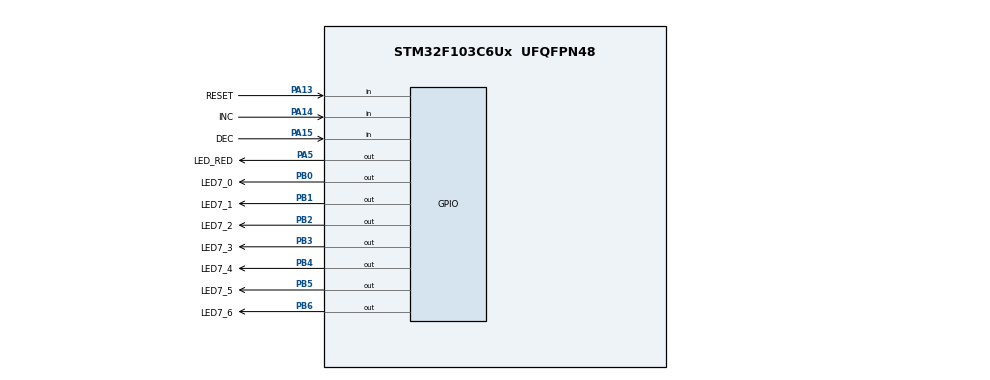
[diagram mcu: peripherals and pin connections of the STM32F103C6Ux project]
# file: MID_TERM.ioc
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Mcu.Family=STM32F1
Mcu.Name=STM32F103C6Ux
Mcu.Package=UFQFPN48
NVIC.PriorityGroup=NVIC_PRIORITYGROUP_4
NVIC.TIM2_IRQn=true\:0\:0\:false\:false\:true\:true\:true
PA13.GPIO_Label=RESET
PA13.GPIO_PuPd=GPIO_PULLUP
PA13.Signal=GPIO_Input
PA14.GPIO_Label=INC
PA14.GPIO_PuPd=GPIO_PULLUP
PA14.Signal=GPIO_Input
PA15.GPIO_Label=DEC
PA15.GPIO_PuPd=GPIO_PULLUP
PA15.Signal=GPIO_Input
PA5.GPIO_Label=LED_RED
PA5.Signal=GPIO_Output
PB0.GPIO_Label=LED7_0
PB0.Signal=GPIO_Output
PB1.GPIO_Label=LED7_1
PB1.Signal=GPIO_Output
PB2.GPIO_Label=LED7_2
PB2.Signal=GPIO_Output
PB3.GPIO_Label=LED7_3
PB3.Signal=GPIO_Output
PB4.GPIO_Label=LED7_4
PB4.Signal=GPIO_Output
PB5.GPIO_Label=LED7_5
PB5.Signal=GPIO_Output
PB6.GPIO_Label=LED7_6
PB6.Signal=GPIO_Output
ProjectManager.HeapSize=0x200
ProjectManager.StackSize=0x400
ProjectManager.TargetToolchain=STM32CubeIDE
RCC.APB1Freq_Value=8000000
RCC.APB2Freq_Value=8000000
TIM2.Period=10
TIM2.Prescaler=7999
VP_SYS_VS_ND.Mode=No_Debug
VP_TIM2_VS_ClockSourceINT.Mode=Internal
board=custom

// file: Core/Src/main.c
/* USER CODE BEGIN Header */
/**
  ******************************************************************************
  * @file           : main.c
  * @brief          : Main program body
  ******************************************************************************
  * @attention
  *
  * <h2><center>&copy; Copyright (c) 2022 STMicroelectronics.
  * All rights reserved.</center></h2>
  *
  * This software component is licensed by ST under BSD 3-Clause license,
  * the "License"; You may not use this file except in compliance with the
  * License. You may obtain a copy of the License at:
  *                        opensource.org/licenses/BSD-3-Clause
  *
  ******************************************************************************
  */
/* USER CODE END Header */
#include "main.h"

/* USER CODE BEGIN Includes */
#include "software_timer.h"
#include "display7Segment.h"
#include "global.h"
#include "button.h"
#include "normalPress.h"
/* USER CODE END Includes */

TIM_HandleTypeDef htim2;

void SystemClock_Config(void);
static void MX_GPIO_Init(void);
static void MX_TIM2_Init(void);

int main(void)
{

  /* MCU Configuration--------------------------------------------------------*/

  /* Reset of all peripherals, Initializes the Flash interface and the Systick. */
  HAL_Init();

  /* Configure the system clock */
  SystemClock_Config();

  /* Initialize all configured peripherals */
  MX_GPIO_Init();
  MX_TIM2_Init();
  /* USER CODE BEGIN 2 */
  HAL_TIM_Base_Start_IT (& htim2 ) ;
  /* USER CODE END 2 */

  /* Infinite loop */
  /* USER CODE BEGIN WHILE */
  status_press=INIT;
  setTimer2(1000);
  while (1)
  {
    /* USER CODE END WHILE */

    /* USER CODE BEGIN 3 */
	  fsm_simple_buttons_run();
	  if(timer2_flag==1){
		  setTimer2(1000);
		  HAL_GPIO_TogglePin(LED_RED_GPIO_Port, LED_RED_Pin);
	  }
  }
  /* USER CODE END 3 */
}

void SystemClock_Config(void)
{
  RCC_OscInitTypeDef RCC_OscInitStruct = {0};
  RCC_ClkInitTypeDef RCC_ClkInitStruct = {0};

  /** Initializes the RCC Oscillators according to the specified parameters
  * in the RCC_OscInitTypeDef structure.
  */
  RCC_OscInitStruct.OscillatorType = RCC_OSCILLATORTYPE_HSI;
  RCC_OscInitStruct.HSIState = RCC_HSI_ON;
  RCC_OscInitStruct.HSICalibrationValue = RCC_HSICALIBRATION_DEFAULT;
  RCC_OscInitStruct.PLL.PLLState = RCC_PLL_NONE;
  if (HAL_RCC_OscConfig(&RCC_OscInitStruct) != HAL_OK)
  {
    Error_Handler();
  }
  /** Initializes the CPU, AHB and APB buses clocks
  */
  RCC_ClkInitStruct.ClockType = RCC_CLOCKTYPE_HCLK|RCC_CLOCKTYPE_SYSCLK
                              |RCC_CLOCKTYPE_PCLK1|RCC_CLOCKTYPE_PCLK2;
  RCC_ClkInitStruct.SYSCLKSource = RCC_SYSCLKSOURCE_HSI;
  RCC_ClkInitStruct.AHBCLKDivider = RCC_SYSCLK_DIV1;
  RCC_ClkInitStruct.APB1CLKDivider = RCC_HCLK_DIV1;
  RCC_ClkInitStruct.APB2CLKDivider = RCC_HCLK_DIV1;

  if (HAL_RCC_ClockConfig(&RCC_ClkInitStruct, FLASH_LATENCY_0) != HAL_OK)
  {
    Error_Handler();
  }
}

static void MX_TIM2_Init(void)
{

  TIM_ClockConfigTypeDef sClockSourceConfig = {0};
  TIM_MasterConfigTypeDef sMasterConfig = {0};

  htim2.Instance = TIM2;
  htim2.Init.Prescaler = 7999;
  htim2.Init.CounterMode = TIM_COUNTERMODE_UP;
  htim2.Init.Period = 10;
  htim2.Init.ClockDivision = TIM_CLOCKDIVISION_DIV1;
  htim2.Init.AutoReloadPreload = TIM_AUTORELOAD_PRELOAD_DISABLE;
  if (HAL_TIM_Base_Init(&htim2) != HAL_OK)
  {
    Error_Handler();
  }
  sClockSourceConfig.ClockSource = TIM_CLOCKSOURCE_INTERNAL;
  if (HAL_TIM_ConfigClockSource(&htim2, &sClockSourceConfig) != HAL_OK)
  {
    Error_Handler();
  }
  sMasterConfig.MasterOutputTrigger = TIM_TRGO_RESET;
  sMasterConfig.MasterSlaveMode = TIM_MASTERSLAVEMODE_DISABLE;
  if (HAL_TIMEx_MasterConfigSynchronization(&htim2, &sMasterConfig) != HAL_OK)
  {
    Error_Handler();
  }

}

static void MX_GPIO_Init(void)
{
  GPIO_InitTypeDef GPIO_InitStruct = {0};

  /* GPIO Ports Clock Enable */
  __HAL_RCC_GPIOA_CLK_ENABLE();
  __HAL_RCC_GPIOB_CLK_ENABLE();

  /*Configure GPIO pin Output Level */
  HAL_GPIO_WritePin(LED_RED_GPIO_Port, LED_RED_Pin, GPIO_PIN_RESET);

  /*Configure GPIO pin Output Level */
  HAL_GPIO_WritePin(GPIOB, LED7_0_Pin|LED7_1_Pin|LED7_2_Pin|LED7_3_Pin
                          |LED7_4_Pin|LED7_5_Pin|LED7_6_Pin, GPIO_PIN_RESET);

  /*Configure GPIO pin : LED_RED_Pin */
  GPIO_InitStruct.Pin = LED_RED_Pin;
  GPIO_InitStruct.Mode = GPIO_MODE_OUTPUT_PP;
  GPIO_InitStruct.Pull = GPIO_NOPULL;
  GPIO_InitStruct.Speed = GPIO_SPEED_FREQ_LOW;
  HAL_GPIO_Init(LED_RED_GPIO_Port, &GPIO_InitStruct);

  /*Configure GPIO pins : LED7_0_Pin LED7_1_Pin LED7_2_Pin LED7_3_Pin
                           LED7_4_Pin LED7_5_Pin LED7_6_Pin */
  GPIO_InitStruct.Pin = LED7_0_Pin|LED7_1_Pin|LED7_2_Pin|LED7_3_Pin
                          |LED7_4_Pin|LED7_5_Pin|LED7_6_Pin;
  GPIO_InitStruct.Mode = GPIO_MODE_OUTPUT_PP;
  GPIO_InitStruct.Pull = GPIO_NOPULL;
  GPIO_InitStruct.Speed = GPIO_SPEED_FREQ_LOW;
  HAL_GPIO_Init(GPIOB, &GPIO_InitStruct);

  /*Configure GPIO pins : RESET_Pin INC_Pin DEC_Pin */
  GPIO_InitStruct.Pin = RESET_Pin|INC_Pin|DEC_Pin;
  GPIO_InitStruct.Mode = GPIO_MODE_INPUT;
  GPIO_InitStruct.Pull = GPIO_PULLUP;
  HAL_GPIO_Init(GPIOA, &GPIO_InitStruct);

}

/* USER CODE BEGIN 4 */
void HAL_TIM_PeriodElapsedCallback ( TIM_HandleTypeDef * htim ){
	timerRun();
	getKeyInput();
}
/* USER CODE END 4 */

void Error_Handler(void)
{
  __disable_irq();
  while (1)
  {
  }
}

/************************ (C) COPYRIGHT STMicroelectronics *****END OF FILE****/
